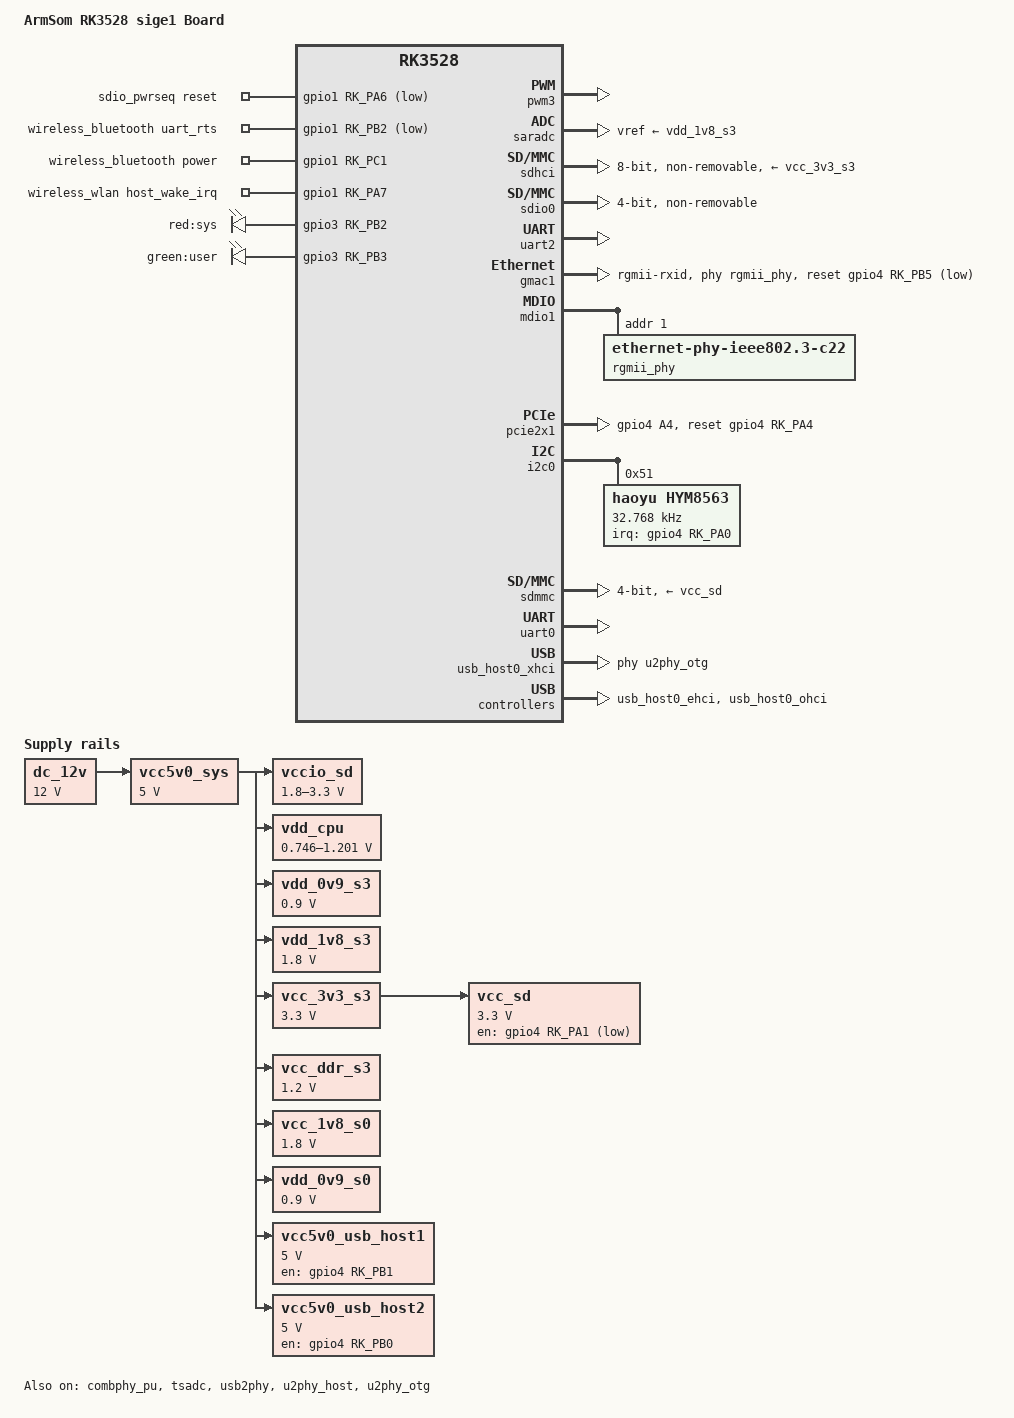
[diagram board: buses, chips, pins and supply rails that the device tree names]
// SPDX-License-Identifier: (GPL-2.0+ OR MIT)
/*
 * Copyright (c) 2022 Rockchip Electronics Co., Ltd.
 *
 */

/dts-v1/;

#include <dt-bindings/gpio/gpio.h>
#include <dt-bindings/input/input.h>
#include <dt-bindings/pinctrl/rockchip.h>
#include <rockchip/rk3528.dtsi>
#include "rk3528-patch.dtsi"
#include "rk3528-ip.dtsi"

/ {
	model = "ArmSom RK3528 sige1 Board";
	compatible = "armsom,sige1-v1", "rockchip,rk3528";

	aliases {
		ethernet0 = &gmac1;
		/delete-property/ ethernet1;
		/* ethernet1 = &pcie-eth; */

		mmc0 = &sdmmc; // sdcard
		mmc1 = &sdhci; // emmc
		mmc2 = &sdio0; // sdio

		led-boot = &led_red;
		led-failsafe = &led_red;
		led-running = &led_red;
		led-upgrade = &led_red;
	};

	chosen {
		stdout-path = "serial0:1500000n8";
	};

	dc_12v: dc-12v {
		compatible = "regulator-fixed";
		regulator-name = "dc_12v";
		regulator-always-on;
		regulator-boot-on;
		regulator-min-microvolt = <12000000>;
		regulator-max-microvolt = <12000000>;
	};

	vcc5v0_sys: vcc5v0-sys {
		compatible = "regulator-fixed";
		regulator-name = "vcc5v0_sys";
		regulator-always-on;
		regulator-boot-on;
		regulator-min-microvolt = <5000000>;
		regulator-max-microvolt = <5000000>;
		vin-supply = <&dc_12v>;
	};

	/omit-if-no-ref/
	vccio_sd: vccio-sd {
		compatible = "regulator-gpio";
		regulator-name = "vccio_sd";
		regulator-min-microvolt = <1800000>;
		regulator-max-microvolt = <3300000>;
		regulator-ramp-delay = <1001>;
		gpios = <&gpio4 RK_PC2 GPIO_ACTIVE_HIGH>;
		vin-supply = <&vcc5v0_sys>;
		states = <1800000 0x0
			  3300000 0x1>;
	};

	vdd_logic: vdd-logic {
		compatible = "pwm-regulator";
		pwms = <&pwm2 0 5000 1>;
		regulator-name = "vdd_logic";
		regulator-min-microvolt = <705000>;
		regulator-max-microvolt = <1006000>;
		regulator-init-microvolt = <900000>;
		regulator-always-on;
		regulator-boot-on;
		regulator-ramp-delay = <6001>;
		regulator-settling-time-up-us = <250>;
		pwm-supply = <&vcc5v0_sys>;
		status = "okay";
	};

	vdd_cpu: vdd-cpu {
		compatible = "pwm-regulator";
		pwms = <&pwm3 0 5000 1>;
		regulator-name = "vdd_cpu";
		regulator-min-microvolt = <746000>;
		regulator-max-microvolt = <1201000>;
		regulator-init-microvolt = <953000>;
		regulator-always-on;
		regulator-boot-on;
		regulator-ramp-delay = <6001>;
		regulator-settling-time-up-us = <250>;
		pwm-supply = <&vcc5v0_sys>;
		status = "okay";
	};

	vdd_0v9_s3: vdd-0v9-s3 {
		compatible = "regulator-fixed";
		regulator-name = "vdd_0v9_s3";
		regulator-always-on;
		regulator-boot-on;
		regulator-min-microvolt = <900000>;
		regulator-max-microvolt = <900000>;
		vin-supply = <&vcc5v0_sys>;
	};

	vdd_1v8_s3: vdd-1v8-s3 {
		compatible = "regulator-fixed";
		regulator-name = "vdd_1v8_s3";
		regulator-always-on;
		regulator-boot-on;
		regulator-min-microvolt = <1800000>;
		regulator-max-microvolt = <1800000>;
		vin-supply = <&vcc5v0_sys>;
	};

	vcc_3v3_s3: vcc-3v3-s3 {
		compatible = "regulator-fixed";
		regulator-name = "vcc_3v3_s3";
		regulator-always-on;
		regulator-boot-on;
		regulator-min-microvolt = <3300000>;
		regulator-max-microvolt = <3300000>;
		vin-supply = <&vcc5v0_sys>;
	};

	/omit-if-no-ref/
	vcc_sd: vcc-sd {
		compatible = "regulator-fixed";
		gpio = <&gpio4 RK_PA1 GPIO_ACTIVE_LOW>;
		regulator-name = "vcc_sd";
		regulator-min-microvolt = <3300000>;
		regulator-max-microvolt = <3300000>;
		vin-supply = <&vcc_3v3_s3>;
	};

	vcc_ddr_s3: vcc-ddr-s3 {
		compatible = "regulator-fixed";
		regulator-name = "vcc_ddr_s3";
		regulator-always-on;
		regulator-boot-on;
		regulator-min-microvolt = <1200000>;
		regulator-max-microvolt = <1200000>;
		vin-supply = <&vcc5v0_sys>;
	};

	hdmi_sound: hdmi-sound {
		compatible = "rockchip,hdmi";
		rockchip,mclk-fs = <128>;
		rockchip,card-name = "rockchip,hdmi";
		rockchip,cpu = <&sai3>;
		rockchip,codec = <&hdmi>;
		rockchip,jack-det;
	};

	vcc_1v8_s0: vcc-1v8-s0 {
		compatible = "regulator-fixed";
		regulator-name = "vcc_1v8_s0";
		regulator-always-on;
		regulator-boot-on;
		regulator-min-microvolt = <1800000>;
		regulator-max-microvolt = <1800000>;
		vin-supply = <&vcc5v0_sys>;
	};

	vdd_0v9_s0: vdd-0v9-s0 {
		compatible = "regulator-fixed";
		regulator-name = "vdd_0v9_s0";
		regulator-always-on;
		regulator-boot-on;
		regulator-min-microvolt = <900000>;
		regulator-max-microvolt = <900000>;
		vin-supply = <&vcc5v0_sys>;
	};
	
	vcc5v0_usb_host1: vcc5v0-usb-host1 {
		compatible = "regulator-fixed";
		regulator-name = "vcc5v0_usb_host1";
		regulator-boot-on;
		regulator-always-on;
		regulator-min-microvolt = <5000000>;
		regulator-max-microvolt = <5000000>;
		enable-active-high;
		gpio = <&gpio4 RK_PB1 GPIO_ACTIVE_HIGH>;
		vin-supply = <&vcc5v0_sys>;
		pinctrl-names = "default";
		pinctrl-0 = <&usb_host1_pwren>;
	};

	vcc5v0_usb_host2: vcc5v0-usb-host2 {
		compatible = "regulator-fixed";
		regulator-name = "vcc5v0_usb_host2";
		regulator-boot-on;
		regulator-always-on;
		regulator-min-microvolt = <5000000>;
		regulator-max-microvolt = <5000000>;
		enable-active-high;
		gpio = <&gpio4 RK_PB0 GPIO_ACTIVE_HIGH>;
		vin-supply = <&vcc5v0_sys>;
		pinctrl-names = "default";
		pinctrl-0 = <&usb_host2_pwren>;
	};

	sdio_pwrseq: sdio-pwrseq {
		compatible = "mmc-pwrseq-simple";
		pinctrl-names = "default";
		pinctrl-0 = <&wifi_enable_h &clkm1_32k_out>;
		reset-gpios = <&gpio1 RK_PA6 GPIO_ACTIVE_LOW>;
	};

	wireless_bluetooth: wireless-bluetooth {
		compatible = "bluetooth-platdata";
		//wifi-bt-power-toggle;
		uart_rts_gpios = <&gpio1 RK_PB2 GPIO_ACTIVE_LOW>;
		pinctrl-names = "default", "rts_gpio";
		pinctrl-0 = <&uart2m1_rtsn>;
		pinctrl-1 = <&uart2m1_rts_gpio>;
		BT,power_gpio = <&gpio1 RK_PC1 GPIO_ACTIVE_HIGH>;
		//BT,wake_host_irq = <&gpio1 RK_PC2 GPIO_ACTIVE_HIGH>;
		status = "okay";
	};

	wireless_wlan: wireless-wlan {
		compatible = "wlan-platdata";
		rockchip,grf = <&grf>;
		wifi_chip_type = "rtl8852bs";
		pinctrl-names = "default";
		pinctrl-0 = <&wifi_host_wake_irq>;
		//WIFI,poweren_gpio = <&gpio1 RK_PA6 GPIO_ACTIVE_HIGH>;
		WIFI,host_wake_irq = <&gpio1 RK_PA7 GPIO_ACTIVE_HIGH>;
		status = "okay";
	};

	leds {
		compatible = "gpio-leds";
		pinctrl-names = "default";
		pinctrl-0 =
			<&led_red_en>,
			<&led_green_en>;

		led_red: led-red {
			gpios = <&gpio3 RK_PB2 GPIO_ACTIVE_HIGH>;
			label = "red:sys";
			linux,default-trigger = "heartbeat";
		};
		led-green {
			gpios = <&gpio3 RK_PB3 GPIO_ACTIVE_HIGH>;
			label = "green:user";
		};
	};
};

&combphy_pu {
	status = "okay";
};

&cpu0 {
	cpu-supply = <&vdd_cpu>;
};

&cpu1 {
	cpu-supply = <&vdd_cpu>;
};

&cpu2 {
	cpu-supply = <&vdd_cpu>;
};

&cpu3 {
	cpu-supply = <&vdd_cpu>;
};

&pwm2 {
	pinctrl-names = "default";
	pinctrl-0 = <&pwm2m0_pins>;
	status = "okay";
};

&pwm3 {
	pinctrl-names = "default";
	pinctrl-0 = <&pwm3m0_pins>;
	status = "okay";
};

&saradc {
	status = "okay";
	vref-supply = <&vdd_1v8_s3>;
};

&sdhci {
	bus-width = <8>;
	no-sd;
	no-sdio;
	non-removable;
	mmc-hs200-1_8v;
	max-frequency = <200000000>;
	vmmc-supply = <&vcc_3v3_s3>;
	vqmmc-supply = <&vdd_1v8_s3>;
	status = "okay";
};

&sdio0 {
	max-frequency = <200000000>;
	no-sd;
	no-mmc;
	supports-sdio;
	bus-width = <4>;
	disable-wp;
	cap-sd-highspeed;
	cap-sdio-irq;
	keep-power-in-suspend;
	non-removable;
	mmc-pwrseq = <&sdio_pwrseq>;
	sd-uhs-sdr104;
	status = "okay";
};

&tsadc {
	status = "okay";
};

&uart2 {
	status = "okay";
	pinctrl-names = "default";
	pinctrl-0 = <&uart2m1_xfer &uart2m1_ctsn>;
};

&gmac1 {
	/* Use rgmii-rxid mode to disable rx delay inside Soc */
	phy-mode = "rgmii-rxid";
	clock_in_out = "output";

	snps,reset-gpio = <&gpio4 RK_PB5 GPIO_ACTIVE_LOW>;
	snps,reset-active-low;
	/* Reset time is 20ms, 100ms for rtl8211f */
	snps,reset-delays-us = <0 20000 100000>;

	tx_delay = <0x30>;
	/* rx_delay = <0x3f>; */

	pinctrl-names = "default";
	pinctrl-0 = <&rgmii_miim
		     &rgmii_tx_bus2
		     &rgmii_rx_bus2
		     &rgmii_rgmii_clk
		     &rgmii_rgmii_bus
		     &eth_pins>;

	phy-handle = <&rgmii_phy>;
	status = "okay";
};


&mdio1 {
	rgmii_phy: phy@1 {
		compatible = "ethernet-phy-ieee802.3-c22";
		reg = <0x1>;
	};
};

&combphy_pu {
	rockchip,dis-u3otg0-port; /* disable USB3.0 */
};

&pcie2x1 {
	reset-gpios = <&gpio4 RK_PA4 GPIO_ACTIVE_HIGH>;
	pinctrl-names = "default";
	pinctrl-0 = <&wifi_perst>;
	status = "okay";
};

&i2c0 {
	pinctrl-names = "default";
	pinctrl-0 = <&i2c0m0_xfer>;
	status = "okay";
	hym8563: hym8563@51 {
		compatible = "haoyu,hym8563";
		reg = <0x51>;
		#clock-cells = <0>;
		clock-frequency = <32768>;
		clock-output-names = "hym8563";
		pinctrl-names = "default";
		pinctrl-0 = <&hym8563_int>;
		interrupt-parent = <&gpio4>;
		interrupts = <RK_PA0 IRQ_TYPE_LEVEL_LOW>;
	};
};


&pinctrl {
	sdio-pwrseq {
		wifi_enable_h: wifi-enable-h {
			rockchip,pins = <1 RK_PA6 RK_FUNC_GPIO &pcfg_pull_none>;
		};
	};

	wireless-wlan {
		wifi_perst: wifi-perst {
			rockchip,pins = <4 RK_PA4 RK_FUNC_GPIO &pcfg_pull_up>;
		};
		wifi_poweren_gpio: wifi-poweren-gpio {
			rockchip,pins = <1 RK_PA6 RK_FUNC_GPIO &pcfg_pull_down>;
		};
		wifi_host_wake_irq: wifi-host-wake-irq {
			rockchip,pins = <1 RK_PA7 RK_FUNC_GPIO &pcfg_pull_down>;
		};
	};

	wireless-bluetooth {
		uart2m1_rts_gpio: uart2m1-rts-gpio {
			rockchip,pins = <1 RK_PB2 RK_FUNC_GPIO &pcfg_pull_none>;
		};
	};
	hym8563 {
		hym8563_int: hym8563-int {
			rockchip,pins = <4 RK_PA0 RK_FUNC_GPIO &pcfg_pull_none>;
		};
	};
	usb {
		usb_host1_pwren: usb-host1-pwren {
			rockchip,pins = <4 RK_PB1 RK_FUNC_GPIO &pcfg_pull_none>;
		};

		usb_host2_pwren: usb-host2-pwren {
			rockchip,pins = <4 RK_PB0 RK_FUNC_GPIO &pcfg_pull_none>;
		};
	};
	fan {
		fan_en: fan-en {
			rockchip,pins = <3 RK_PC1 RK_FUNC_GPIO &pcfg_pull_none>;
		};
	};
	led {
		led_red_en: led-red-en {
			rockchip,pins = <3 RK_PB2 RK_FUNC_GPIO &pcfg_pull_none>;
		};
		led_green_en: led-green-en {
			rockchip,pins = <3 RK_PB3 RK_FUNC_GPIO &pcfg_pull_none>;
		};
	};
};

&sdmmc {
	bus-width = <4>;
	cap-mmc-highspeed;
	cap-sd-highspeed;
	disable-wp;
	max-frequency = <150000000>;
	supports-sd;
	sd-uhs-sdr12;
	sd-uhs-sdr25;
	sd-uhs-sdr50;
	sd-uhs-sdr104;
	vqmmc-supply = <&vccio_sd>;
	vmmc-supply = <&vcc_sd>;
	status = "okay";
};

&uart0 {
	pinctrl-names = "default";
	pinctrl-0 = <&uart0m0_xfer>;
	status = "okay";
};

&usb2phy {
	status = "okay";
};

&u2phy_host {
	status = "okay";
	phy-supply = <&vcc5v0_sys>;
};

&u2phy_otg {
	status = "okay";
	vbus-supply = <&vcc5v0_sys>;
};

&usb_host0_xhci {
	// Only USB2.0 START
	extcon = <&usb2phy>;
	phys = <&u2phy_otg>;
	phy-names = "usb2-phy";
	maximum-speed = "high-speed";
	snps,dis_u2_susphy_quirk;
	// Only USB2.0 END
	snps,usb2-lpm-disable;
	status = "okay";
};

&usb_host0_ehci {
	status = "okay";
};

&usb_host0_ohci {
	status = "okay";
};

// pwm2 hangs system, disable it
&vdd_logic {
	status = "disabled";
};

&pwm2 {
	status = "disabled";
};
